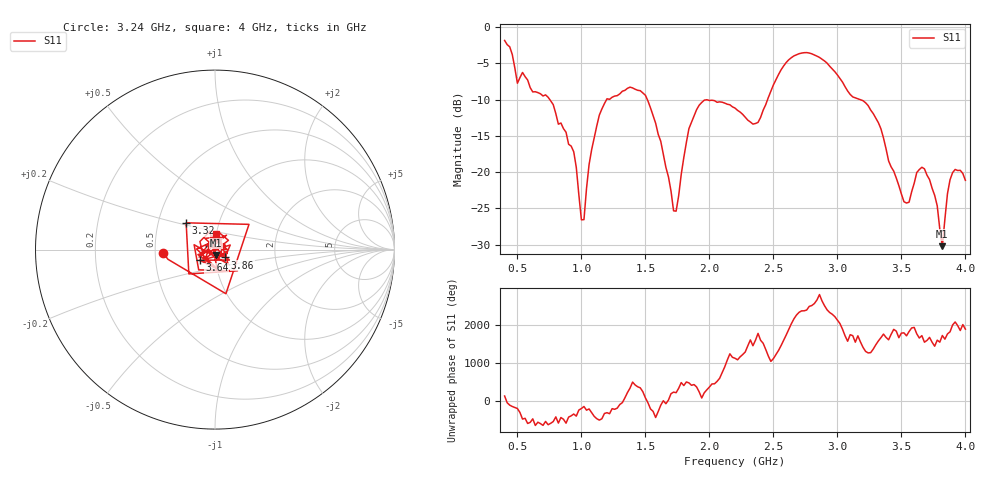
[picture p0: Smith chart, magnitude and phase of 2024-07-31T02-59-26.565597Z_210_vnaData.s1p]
!Created with skrf (http://scikit-rf.org).
# Hz S RI R 50.0
!freq ReS11 ImS11
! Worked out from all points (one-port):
!   181 points, 400 MHz to 4 GHz, reference 50 ohm
!   lowest |S11| = -30.2 dB at 3.82 GHz (marker M1), VSWR 1.06, Z = 50.4 - j3.07 ohm
!   |S11| at or under -10 dB: 753.1 MHz to 1.197 GHz (443.4 MHz wide, 45.5 % of centre); 1.515 GHz to 2.454 GHz (939.2 MHz wide, 47.3 % of centre); 3.177 GHz to end of sweep
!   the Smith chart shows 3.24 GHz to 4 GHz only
!   S11 on the Smith chart (normalised r, x): 3.24 GHz: 0.55, -0.02; 3.32 GHz: 0.70, +0.22; 3.64 GHz: 0.84, -0.10; 3.86 GHz: 1.11, -0.10; 4 GHz: 1.00, +0.18
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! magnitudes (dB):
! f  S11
! 400 MHz  -1.8
! 500 MHz  -7.7
! 860 MHz  -14.0
! 940 MHz  -17.2
! 1 GHz  -26.6
! 1.02 GHz  -26.5
! 1.06 GHz  -19.0
! 1.14 GHz  -12.1
! 1.3 GHz  -9.2
! 1.5 GHz  -9.4
! 1.62 GHz  -15.7
! 1.72 GHz  -25.3
! 1.76 GHz  -23.2
! 1.84 GHz  -14.0
! 1.92 GHz  -10.8
! 2.2 GHz  -11.2
! 2.38 GHz  -13.1
! 2.66 GHz  -4.0
! 3.1 GHz  -9.3
! 3.24 GHz  -10.8
! 3.32 GHz  -13.2
! 3.56 GHz  -24.1
! 3.64 GHz  -19.6
! 3.76 GHz  -23.2
! 3.82 GHz  -30.2
! 3.86 GHz  -23.0
! 3.92 GHz  -19.6
! 4 GHz  -21.1
